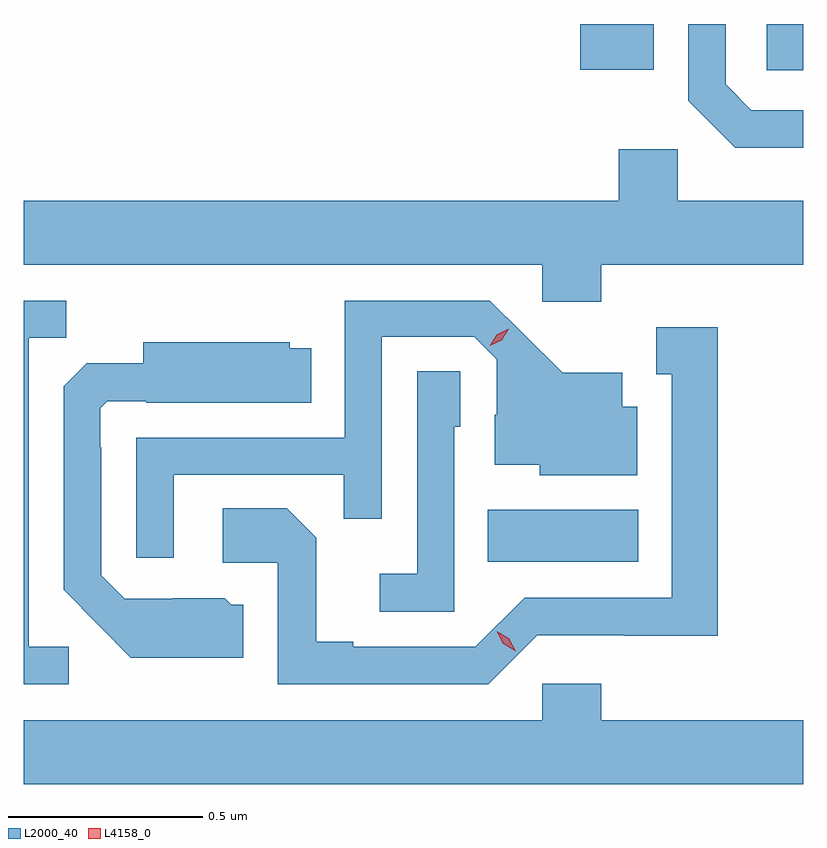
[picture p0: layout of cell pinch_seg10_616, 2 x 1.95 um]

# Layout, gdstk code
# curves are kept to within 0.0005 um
import gdstk
lib = gdstk.Library(unit=1e-6, precision=1e-09)
def R(c, l, rs):  # rectangles x0, y0, x1, y1
    for r in rs: c.add(gdstk.rectangle(r[:2], r[2:], *l))
def P(c, l, *ps):  # polygons
    for p in ps: c.add(gdstk.Polygon(p, *l))
L2000_40 = (2000, 40)
L4158_0 = (4158, 0)

pinch_seg10_616 = lib.new_cell('pinch_seg10_616')
R(pinch_seg10_616, L2000_40, [(367.36,1278.242,367.747,1278.376), (368.076,1279.503,368.17,1279.622), (367.598,1279.505,367.786,1279.622)])
P(pinch_seg10_616, L2000_40, [(368.17,1279.401),(368.037,1279.401),(367.971,1279.467),(367.971,1279.622),(367.875,1279.622),(367.875,1279.425),(367.996,1279.304),(368.17,1279.304)],
  [(367.652,1279.004),(368.17,1279.004),(368.17,1279.168),(367.848,1279.168),(367.848,1279.3),(367.697,1279.3),(367.697,1279.168),(366.17,1279.168),(366.17,1279.004),(367.5,1279.004),(367.5,1278.909),(367.652,1278.909)],
  [(366.286,1278.024),(366.183,1278.024),(366.183,1278.817),(366.279,1278.817),(366.279,1278.912),(366.17,1278.912),(366.17,1277.928),(366.286,1277.928)],
  [(366.555,1278.465),(366.991,1278.465),(366.991,1278.352),(367.089,1278.352),(367.089,1278.819),(367.326,1278.819),(367.383,1278.762),(367.383,1278.62),(367.379,1278.62),(367.379,1278.491),(367.494,1278.491),(367.494,1278.464),(367.744,1278.464),(367.744,1278.64),(367.705,1278.64),(367.705,1278.727),(367.553,1278.727),(367.366,1278.912),(366.993,1278.912),(366.993,1278.561),(366.459,1278.561),(366.459,1278.252),(366.555,1278.252)],
  [(367.488,1278.054),(367.71,1278.054),(367.71,1278.053),(367.951,1278.053),(367.951,1278.844),(367.793,1278.844),(367.793,1278.723),(367.832,1278.723),(367.832,1278.15),(367.455,1278.15),(367.329,1278.024),(367.015,1278.024),(367.015,1278.037),(366.921,1278.037),(366.921,1278.304),(366.845,1278.38),(366.681,1278.38),(366.681,1278.24),(366.822,1278.24),(366.822,1277.928),(367.362,1277.928)],
  [(366.733,1278.132),(366.702,1278.132),(366.686,1278.148),(366.552,1278.148),(366.552,1278.147),(366.429,1278.147),(366.369,1278.207),(366.369,1278.536),(366.366,1278.536),(366.366,1278.636),(366.384,1278.654),(366.484,1278.654),(366.484,1278.65),(366.908,1278.65),(366.908,1278.79),(366.852,1278.79),(366.852,1278.805),(366.476,1278.805),(366.476,1278.751),(366.332,1278.751),(366.273,1278.692),(366.273,1278.17),(366.445,1277.996),(366.733,1277.996)],
  [(367.275,1278.588),(367.29,1278.588),(367.29,1278.731),(367.179,1278.731),(367.179,1278.211),(367.083,1278.211),(367.083,1278.114),(367.275,1278.114)],
  [(368.17,1277.836),(367.652,1277.836),(367.652,1277.929),(367.5,1277.929),(367.5,1277.836),(366.17,1277.836),(366.17,1277.672),(368.17,1277.672)])
P(pinch_seg10_616, L4158_0, [(367.432,1278.013),(367.4,1278.032),(367.383,1278.064),(367.383,1278.064),(367.383,1278.064),(367.415,1278.046),(367.432,1278.013),(367.432,1278.013)],
  [(367.366,1278.796),(367.366,1278.796),(367.383,1278.825),(367.414,1278.84),(367.415,1278.84),(367.415,1278.84),(367.397,1278.81),(367.366,1278.796)])

lib.write_gds('pinch_seg10_616.gds')
